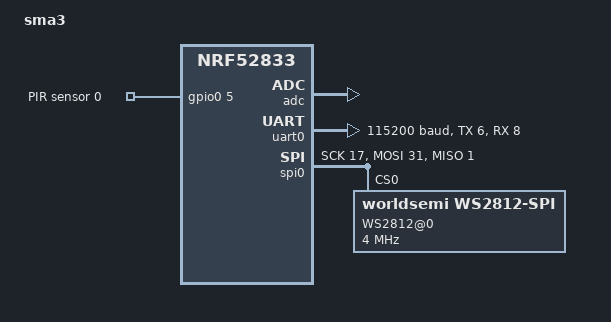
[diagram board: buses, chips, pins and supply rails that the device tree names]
/*
 * Copyright (c) 2019 Nordic Semiconductor ASA
 *
 * SPDX-License-Identifier: Apache-2.0
 */

/dts-v1/;
#include <nordic/nrf52833_qiaa.dtsi>
#include <dt-bindings/led/led.h>

/ {
	model = "sma3";
	compatible = "nordic,nrf52833-dk-nrf52833";

	chosen {
		zephyr,console = &uart0;
		zephyr,shell-uart = &uart0;
		zephyr,uart-mcumgr = &uart0;
		zephyr,bt-mon-uart = &uart0;
		zephyr,bt-c2h-uart = &uart0;
		zephyr,sram = &sram0;
		zephyr,flash = &flash0;
		zephyr,code-partition = &slot0_partition;
	};

	pirs {
		compatible = "gpio-keys";
		pir0: pir_0 {
			gpios = <&gpio0 5 (GPIO_PULL_DOWN | GPIO_ACTIVE_HIGH)>;
			label = "PIR sensor 0";
		};
	};

	aliases {
		pir = &pir0;
	};
};

&adc {
	status = "okay";
};

&gpiote {
	status = "okay";
};

&gpio0 {
	status = "okay";
};

&uart0 {
	status = "okay";
	compatible = "nordic,nrf-uart";
	current-speed = <115200>;
	tx-pin = <6>;
	rx-pin = <8>;
	rx-pull-up;
	rts-pin = <5>;
	cts-pin = <7>;
	cts-pull-up;
};

&spi0 {
	compatible = "nordic,nrf-spim";
	status = "okay";
	sck-pin = <17>;
	mosi-pin = <31>;
	miso-pin = <1>;

	led_strip: ws2812@0 {
		compatible = "worldsemi,ws2812-spi";
		label = "WS2812@0";
		reg = <0>;
		spi-max-frequency = <4000000>;
		spi-one-frame = <0x70>;
		spi-zero-frame = <0x40>;
		chain-length = <600>;
		color-mapping = <LED_COLOR_ID_GREEN
				LED_COLOR_ID_RED
				LED_COLOR_ID_BLUE>;
	};
};

&flash0 {
	partitions {
		compatible = "fixed-partitions";
		#address-cells = <1>;
		#size-cells = <1>;

		boot_partition: partition@0 {
			label = "mcuboot";
			reg = <0x000000000 0xC000>;
		};
		slot0_partition: partition@c000 {
			label = "image-0";
			reg = <0x0000C000 0x32000>;
		};
		slot1_partition: partition@3e000 {
			label = "image-1";
			reg = <0x0003E000 0x32000>;
		};
		scratch_partition: partition@70000 {
			label = "image-scratch";
			reg = <0x00070000 0xA000>;
		};
		storage_partition: partition@7a000 {
			label = "storage";
			reg = <0x0007A000 0x00006000>;
		};
	};
};
